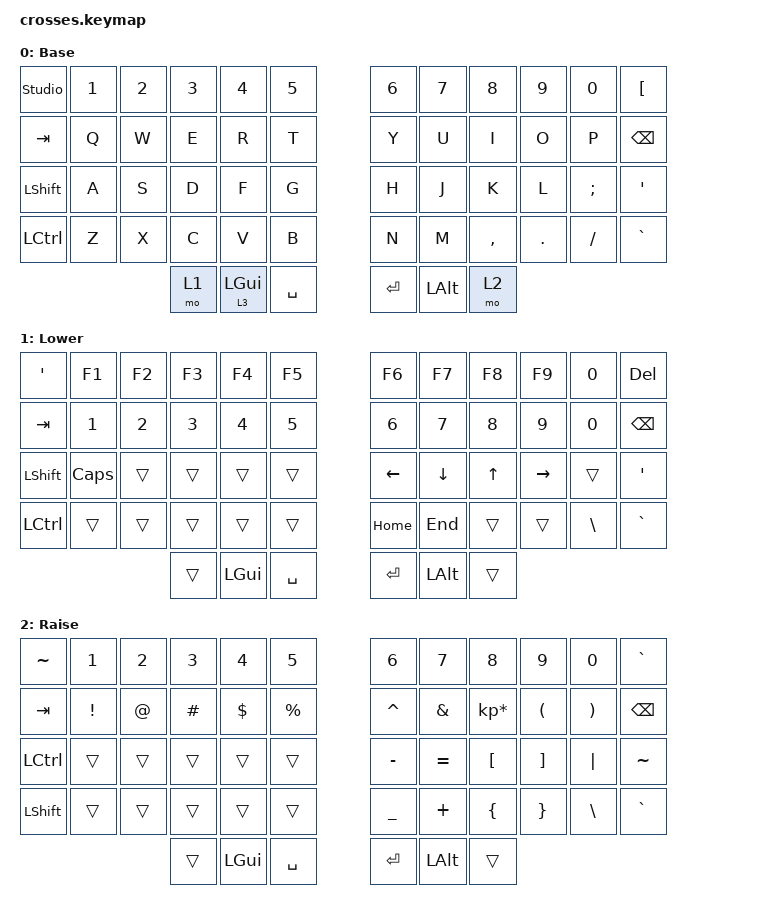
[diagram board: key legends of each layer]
#include <behaviors.dtsi>
#include <dt-bindings/zmk/bt.h>
#include <dt-bindings/zmk/keys.h>


/ {
    chosen { zmk,physical-layout = &gggw_crosses_54_layout; };

    keymap {
        compatible = "zmk,keymap";
        default_layer {
            display-name = "Base";
            bindings = <
                &studio_unlock &kp N1 &kp N2 &kp N3 &kp N4 &kp N5   &kp N6 &kp N7  &kp N8     &kp N9   &kp N0    &kp LBKT
                &kp TAB   &kp Q  &kp W  &kp E  &kp R  &kp T    &kp Y &kp U  &kp I     &kp O   &kp P    &kp BSPC
                &kp LSHFT &kp A  &kp S  &kp D  &kp F  &kp G    &kp H &kp J  &kp K     &kp L   &kp SEMI &kp SQT
                &kp LCTRL &kp Z  &kp X  &kp C  &kp V  &kp B    &kp N &kp M  &kp COMMA &kp DOT &kp FSLH &kp GRAVE
                            &mo 1 &lt 3 LGUI &kp SPACE   &kp RET &kp LALT &mo 2
            >;
        };

        lower_layer {
                    display-name = "Lower";
                    bindings = <
                        &kp SQT   &kp F1   &kp F2   &kp F3 &kp F4 &kp F5     &kp F6   &kp F7   &kp F8 &kp F9    &kp N0 &kp DEL
                        &kp TAB   &kp N1   &kp N2   &kp N3 &kp N4 &kp N5     &kp N6   &kp N7   &kp N8 &kp N9    &kp N0 &kp BSPC
                        &kp LSHFT &kp CAPS &trans   &trans &trans &trans     &kp LEFT &kp DOWN &kp UP &kp RIGHT &trans &kp SQT
                        &kp LCTRL &trans   &trans   &trans &trans &trans     &kp HOME &kp END  &trans &trans    &kp BSLH &kp GRAVE
                                                    &trans &kp LGUI &kp SPACE &kp RET &kp LALT &trans
                    >;
                };

        raise_layer {
            display-name = "Raise";
            bindings = <
                &kp TILDE &kp N1 &kp N2 &kp N3 &kp N4 &kp N5   &kp N6 &kp N7  &kp N8     &kp N9   &kp N0    &kp GRAVE
                &kp  TAB  &kp EXCL &kp AT &kp HASH &kp DLLR &kp PRCNT   &kp CARET &kp AMPS  &kp KP_MULTIPLY &kp LPAR &kp RPAR &kp BSPC
                &kp LCTRL &trans   &trans &trans   &trans   &trans      &kp MINUS &kp EQUAL &kp LBKT        &kp RBKT &kp PIPE &kp TILDE
                &kp LSHFT &trans   &trans &trans   &trans   &trans      &kp UNDER &kp PLUS  &kp LBRC        &kp RBRC &kp BSLH &kp GRAVE
                                                   &trans &kp LGUI &kp SPACE &kp RET &kp LALT &trans
            >;
        };
    };
};
